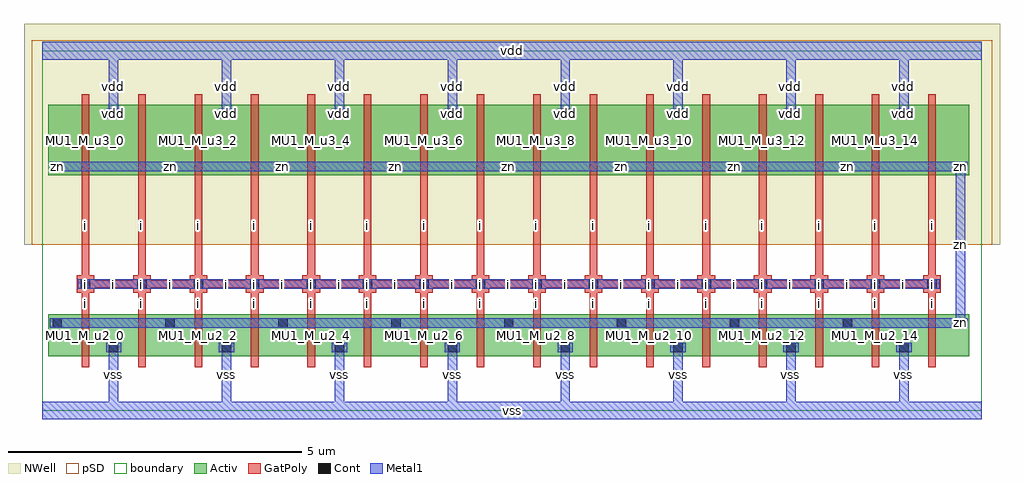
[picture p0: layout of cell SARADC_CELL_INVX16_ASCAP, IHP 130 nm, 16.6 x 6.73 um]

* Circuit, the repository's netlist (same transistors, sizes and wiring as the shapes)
** Cell name: SARADC_CELL_INVX16_ASCAP
** Lib name: sg13g2f
.SUBCKT SARADC_CELL_INVX16_ASCAP i vdd vss zn
*.PININFO i:I zn:O vdd:B vss:B 
MU1_M_u2_0 zn i vss vss sg13_lv_nmos l=1.300e-07 w=7.200e-07 $pos=0 $flip=0
MU1_M_u2_1 zn i vss vss sg13_lv_nmos l=1.300e-07 w=7.200e-07 $pos=1 $flip=1
MU1_M_u2_2 zn i vss vss sg13_lv_nmos l=1.300e-07 w=7.200e-07 $pos=2 $flip=0
MU1_M_u2_3 zn i vss vss sg13_lv_nmos l=1.300e-07 w=7.200e-07 $pos=3 $flip=1
MU1_M_u2_4 zn i vss vss sg13_lv_nmos l=1.300e-07 w=7.200e-07 $pos=4 $flip=0
MU1_M_u2_5 zn i vss vss sg13_lv_nmos l=1.300e-07 w=7.200e-07 $pos=5 $flip=1
MU1_M_u2_6 zn i vss vss sg13_lv_nmos l=1.300e-07 w=7.200e-07 $pos=6 $flip=0
MU1_M_u2_7 zn i vss vss sg13_lv_nmos l=1.300e-07 w=7.200e-07 $pos=7 $flip=1
MU1_M_u2_8 zn i vss vss sg13_lv_nmos l=1.300e-07 w=7.200e-07 $pos=8 $flip=0
MU1_M_u2_9 zn i vss vss sg13_lv_nmos l=1.300e-07 w=7.200e-07 $pos=9 $flip=1
MU1_M_u2_10 zn i vss vss sg13_lv_nmos l=1.300e-07 w=7.200e-07 $pos=10 $flip=0
MU1_M_u2_11 zn i vss vss sg13_lv_nmos l=1.300e-07 w=7.200e-07 $pos=11 $flip=1
MU1_M_u2_12 zn i vss vss sg13_lv_nmos l=1.300e-07 w=7.200e-07 $pos=12 $flip=0
MU1_M_u2_13 zn i vss vss sg13_lv_nmos l=1.300e-07 w=7.200e-07 $pos=13 $flip=1
MU1_M_u2_14 zn i vss vss sg13_lv_nmos l=1.300e-07 w=7.200e-07 $pos=14 $flip=0
MU1_M_u2_15 zn i vss vss sg13_lv_nmos l=1.300e-07 w=7.200e-07 $pos=15 $flip=1
MU1_M_u3_0 zn i vdd vdd sg13_lv_pmos l=1.300e-07 w=1.200e-06 $pos=0 $flip=0
MU1_M_u3_1 zn i vdd vdd sg13_lv_pmos l=1.300e-07 w=1.200e-06 $pos=1 $flip=1
MU1_M_u3_2 zn i vdd vdd sg13_lv_pmos l=1.300e-07 w=1.200e-06 $pos=2 $flip=0
MU1_M_u3_3 zn i vdd vdd sg13_lv_pmos l=1.300e-07 w=1.200e-06 $pos=3 $flip=1
MU1_M_u3_4 zn i vdd vdd sg13_lv_pmos l=1.300e-07 w=1.200e-06 $pos=4 $flip=0
MU1_M_u3_5 zn i vdd vdd sg13_lv_pmos l=1.300e-07 w=1.200e-06 $pos=5 $flip=1
MU1_M_u3_6 zn i vdd vdd sg13_lv_pmos l=1.300e-07 w=1.200e-06 $pos=6 $flip=0
MU1_M_u3_7 zn i vdd vdd sg13_lv_pmos l=1.300e-07 w=1.200e-06 $pos=7 $flip=1
MU1_M_u3_8 zn i vdd vdd sg13_lv_pmos l=1.300e-07 w=1.200e-06 $pos=8 $flip=0
MU1_M_u3_9 zn i vdd vdd sg13_lv_pmos l=1.300e-07 w=1.200e-06 $pos=9 $flip=1
MU1_M_u3_10 zn i vdd vdd sg13_lv_pmos l=1.300e-07 w=1.200e-06 $pos=10 $flip=0
MU1_M_u3_11 zn i vdd vdd sg13_lv_pmos l=1.300e-07 w=1.200e-06 $pos=11 $flip=1
MU1_M_u3_12 zn i vdd vdd sg13_lv_pmos l=1.300e-07 w=1.200e-06 $pos=12 $flip=0
MU1_M_u3_13 zn i vdd vdd sg13_lv_pmos l=1.300e-07 w=1.200e-06 $pos=13 $flip=1
MU1_M_u3_14 zn i vdd vdd sg13_lv_pmos l=1.300e-07 w=1.200e-06 $pos=14 $flip=0
MU1_M_u3_15 zn i vdd vdd sg13_lv_pmos l=1.300e-07 w=1.200e-06 $pos=15 $flip=1
.ENDS

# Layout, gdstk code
import gdstk
lib = gdstk.Library(unit=1e-6, precision=1e-09)
def R(c, l, rs):  # rectangles x0, y0, x1, y1
    for r in rs: c.add(gdstk.rectangle(r[:2], r[2:], *l))
def A(c, l, x, y, w, h, nx, ny, dx, dy):  # array of equal rectangles
    R(c, l, [(x+i*dx, y+j*dy, x+i*dx+w, y+j*dy+h) for i in range(nx) for j in range(ny)])
Activ = (1, 0)
GatPoly = (5, 0)
Cont = (6, 0)
Metal1 = (8, 0)
pSD = (14, 0)
NWell = (31, 0)
TEXT = (63, 0)
boundary = (189, 4)

saradc_cell_invx16_ascap = lib.new_cell('SARADC_CELL_INVX16_ASCAP')
A(saradc_cell_invx16_ascap, Activ, 0.105, 0.92, 1.26, 0.72, 16, 1, 0.96, 0)
A(saradc_cell_invx16_ascap, Activ, 1.065, 0.92, 0.3, 0.3, 8, 2, 1.92, 3.98)
A(saradc_cell_invx16_ascap, Activ, 0.105, 1.34, 0.3, 0.3, 9, 2, 1.92, 2.66)
A(saradc_cell_invx16_ascap, Activ, 0.105, 4, 1.26, 1.2, 16, 1, 0.96, 0)
A(saradc_cell_invx16_ascap, GatPoly, 0.67, 0.74, 0.13, 1.08, 16, 1, 0.96, 0)
A(saradc_cell_invx16_ascap, GatPoly, 0.67, 1.425, 0.13, 0.79, 16, 1, 0.96, 0)
A(saradc_cell_invx16_ascap, GatPoly, 0.585, 2, 0.3, 0.3, 16, 1, 0.96, 0)
A(saradc_cell_invx16_ascap, GatPoly, 0.67, 2.085, 1.09, 0.13, 15, 1, 0.96, 0)
A(saradc_cell_invx16_ascap, GatPoly, 0.67, 2.085, 0.13, 2.13, 16, 1, 0.96, 0)
A(saradc_cell_invx16_ascap, GatPoly, 0.67, 3.82, 0.13, 1.56, 16, 1, 0.96, 0)
A(saradc_cell_invx16_ascap, Cont, 1.135, 0.99, 0.16, 0.16, 8, 2, 1.92, 3.98)
A(saradc_cell_invx16_ascap, Cont, 0.175, 1.41, 0.16, 0.16, 9, 2, 1.92, 2.66)
A(saradc_cell_invx16_ascap, Cont, 0.655, 2.07, 0.16, 0.16, 16, 1, 0.96, 0)
A(saradc_cell_invx16_ascap, Metal1, 1.135, 0.07, 0.16, 1.08, 8, 2, 1.92, 4.9)
A(saradc_cell_invx16_ascap, Metal1, 1.085, 0.99, 0.26, 0.16, 8, 2, 1.92, 3.98)
A(saradc_cell_invx16_ascap, Metal1, 0.125, 1.41, 0.26, 0.16, 9, 2, 1.92, 2.66)
A(saradc_cell_invx16_ascap, Metal1, 0.175, 1.41, 2.08, 0.16, 8, 1, 1.92, 0)
A(saradc_cell_invx16_ascap, Metal1, 0.605, 2.07, 0.26, 0.16, 16, 1, 0.96, 0)
R(saradc_cell_invx16_ascap, Metal1, [(0,-0.15,15.98,0.15), (15.535,1.41,15.695,4.23), (0.655,2.07,15.265,2.23), (0.125,4.07,15.745,4.23), (0,5.97,15.98,6.27)])
R(saradc_cell_invx16_ascap, pSD, [(-0.18,2.82,16.16,5.94), (-0.18,5.94,16.16,6.3)])
R(saradc_cell_invx16_ascap, NWell, [(-0.31,2.82,16.29,6.58)])
R(saradc_cell_invx16_ascap, boundary, [(0,0,15.98,6.12)])
saradc_cell_invx16_ascap.add(gdstk.FlexPath([(0.105,0.41),(15.765,0.41)], 0, ends="flush", simple_path=True, layer=63, datatype=0))  # TEXT
saradc_cell_invx16_ascap.add(gdstk.FlexPath([(0.105,1.07),(15.765,1.07)], 0, ends="flush", simple_path=True, layer=63, datatype=0))  # TEXT
saradc_cell_invx16_ascap.add(gdstk.FlexPath([(0.105,1.49),(15.765,1.49)], 0, ends="flush", simple_path=True, layer=63, datatype=0))  # TEXT
saradc_cell_invx16_ascap.add(gdstk.FlexPath([(0.105,2.15),(15.765,2.15)], 0, ends="flush", simple_path=True, layer=63, datatype=0))  # TEXT
saradc_cell_invx16_ascap.add(gdstk.FlexPath([(0.105,2.63),(15.765,2.63)], 0, ends="flush", simple_path=True, layer=63, datatype=0))  # TEXT
saradc_cell_invx16_ascap.add(gdstk.FlexPath([(0.105,3.11),(15.765,3.11)], 0, ends="flush", simple_path=True, layer=63, datatype=0))  # TEXT
saradc_cell_invx16_ascap.add(gdstk.FlexPath([(0.105,4.15),(15.765,4.15)], 0, ends="flush", simple_path=True, layer=63, datatype=0))  # TEXT
saradc_cell_invx16_ascap.add(gdstk.FlexPath([(0.105,4.71),(15.765,4.71)], 0, ends="flush", simple_path=True, layer=63, datatype=0))  # TEXT
saradc_cell_invx16_ascap.add(gdstk.FlexPath([(0.105,5.05),(15.765,5.05)], 0, ends="flush", simple_path=True, layer=63, datatype=0))  # TEXT
saradc_cell_invx16_ascap.add(gdstk.FlexPath([(0.105,5.71),(15.765,5.71)], 0, ends="flush", simple_path=True, layer=63, datatype=0))  # TEXT
saradc_cell_invx16_ascap.add(gdstk.FlexPath([(0.255,0.07),(0.255,6.05)], 0, ends="flush", simple_path=True, layer=63, datatype=0))  # TEXT
saradc_cell_invx16_ascap.add(gdstk.FlexPath([(0.735,0.07),(0.735,6.05)], 0, ends="flush", simple_path=True, layer=63, datatype=0))  # TEXT
saradc_cell_invx16_ascap.add(gdstk.FlexPath([(1.215,0.07),(1.215,6.05)], 0, ends="flush", simple_path=True, layer=63, datatype=0))  # TEXT
saradc_cell_invx16_ascap.add(gdstk.FlexPath([(1.695,0.07),(1.695,6.05)], 0, ends="flush", simple_path=True, layer=63, datatype=0))  # TEXT
saradc_cell_invx16_ascap.add(gdstk.FlexPath([(2.175,0.07),(2.175,6.05)], 0, ends="flush", simple_path=True, layer=63, datatype=0))  # TEXT
saradc_cell_invx16_ascap.add(gdstk.FlexPath([(2.655,0.07),(2.655,6.05)], 0, ends="flush", simple_path=True, layer=63, datatype=0))  # TEXT
saradc_cell_invx16_ascap.add(gdstk.FlexPath([(3.135,0.07),(3.135,6.05)], 0, ends="flush", simple_path=True, layer=63, datatype=0))  # TEXT
saradc_cell_invx16_ascap.add(gdstk.FlexPath([(3.615,0.07),(3.615,6.05)], 0, ends="flush", simple_path=True, layer=63, datatype=0))  # TEXT
saradc_cell_invx16_ascap.add(gdstk.FlexPath([(4.095,0.07),(4.095,6.05)], 0, ends="flush", simple_path=True, layer=63, datatype=0))  # TEXT
saradc_cell_invx16_ascap.add(gdstk.FlexPath([(4.575,0.07),(4.575,6.05)], 0, ends="flush", simple_path=True, layer=63, datatype=0))  # TEXT
saradc_cell_invx16_ascap.add(gdstk.FlexPath([(5.055,0.07),(5.055,6.05)], 0, ends="flush", simple_path=True, layer=63, datatype=0))  # TEXT
saradc_cell_invx16_ascap.add(gdstk.FlexPath([(5.535,0.07),(5.535,6.05)], 0, ends="flush", simple_path=True, layer=63, datatype=0))  # TEXT
saradc_cell_invx16_ascap.add(gdstk.FlexPath([(6.015,0.07),(6.015,6.05)], 0, ends="flush", simple_path=True, layer=63, datatype=0))  # TEXT
saradc_cell_invx16_ascap.add(gdstk.FlexPath([(6.495,0.07),(6.495,6.05)], 0, ends="flush", simple_path=True, layer=63, datatype=0))  # TEXT
saradc_cell_invx16_ascap.add(gdstk.FlexPath([(6.975,0.07),(6.975,6.05)], 0, ends="flush", simple_path=True, layer=63, datatype=0))  # TEXT
saradc_cell_invx16_ascap.add(gdstk.FlexPath([(7.455,0.07),(7.455,6.05)], 0, ends="flush", simple_path=True, layer=63, datatype=0))  # TEXT
saradc_cell_invx16_ascap.add(gdstk.FlexPath([(7.935,0.07),(7.935,6.05)], 0, ends="flush", simple_path=True, layer=63, datatype=0))  # TEXT
saradc_cell_invx16_ascap.add(gdstk.FlexPath([(8.415,0.07),(8.415,6.05)], 0, ends="flush", simple_path=True, layer=63, datatype=0))  # TEXT
saradc_cell_invx16_ascap.add(gdstk.FlexPath([(8.895,0.07),(8.895,6.05)], 0, ends="flush", simple_path=True, layer=63, datatype=0))  # TEXT
saradc_cell_invx16_ascap.add(gdstk.FlexPath([(9.375,0.07),(9.375,6.05)], 0, ends="flush", simple_path=True, layer=63, datatype=0))  # TEXT
saradc_cell_invx16_ascap.add(gdstk.FlexPath([(9.855,0.07),(9.855,6.05)], 0, ends="flush", simple_path=True, layer=63, datatype=0))  # TEXT
saradc_cell_invx16_ascap.add(gdstk.FlexPath([(10.335,0.07),(10.335,6.05)], 0, ends="flush", simple_path=True, layer=63, datatype=0))  # TEXT
saradc_cell_invx16_ascap.add(gdstk.FlexPath([(10.815,0.07),(10.815,6.05)], 0, ends="flush", simple_path=True, layer=63, datatype=0))  # TEXT
saradc_cell_invx16_ascap.add(gdstk.FlexPath([(11.295,0.07),(11.295,6.05)], 0, ends="flush", simple_path=True, layer=63, datatype=0))  # TEXT
saradc_cell_invx16_ascap.add(gdstk.FlexPath([(11.775,0.07),(11.775,6.05)], 0, ends="flush", simple_path=True, layer=63, datatype=0))  # TEXT
saradc_cell_invx16_ascap.add(gdstk.FlexPath([(12.255,0.07),(12.255,6.05)], 0, ends="flush", simple_path=True, layer=63, datatype=0))  # TEXT
saradc_cell_invx16_ascap.add(gdstk.FlexPath([(12.735,0.07),(12.735,6.05)], 0, ends="flush", simple_path=True, layer=63, datatype=0))  # TEXT
saradc_cell_invx16_ascap.add(gdstk.FlexPath([(13.215,0.07),(13.215,6.05)], 0, ends="flush", simple_path=True, layer=63, datatype=0))  # TEXT
saradc_cell_invx16_ascap.add(gdstk.FlexPath([(13.695,0.07),(13.695,6.05)], 0, ends="flush", simple_path=True, layer=63, datatype=0))  # TEXT
saradc_cell_invx16_ascap.add(gdstk.FlexPath([(14.175,0.07),(14.175,6.05)], 0, ends="flush", simple_path=True, layer=63, datatype=0))  # TEXT
saradc_cell_invx16_ascap.add(gdstk.FlexPath([(14.655,0.07),(14.655,6.05)], 0, ends="flush", simple_path=True, layer=63, datatype=0))  # TEXT
saradc_cell_invx16_ascap.add(gdstk.FlexPath([(15.135,0.07),(15.135,6.05)], 0, ends="flush", simple_path=True, layer=63, datatype=0))  # TEXT
saradc_cell_invx16_ascap.add(gdstk.FlexPath([(15.615,0.07),(15.615,6.05)], 0, ends="flush", simple_path=True, layer=63, datatype=0))  # TEXT
saradc_cell_invx16_ascap.add(gdstk.Label('MU1_M_u2_0', (0.735,1.28), layer=1, texttype=0))
saradc_cell_invx16_ascap.add(gdstk.Label('MU1_M_u2_1', (1.695,1.28), layer=1, texttype=0))
saradc_cell_invx16_ascap.add(gdstk.Label('MU1_M_u2_2', (2.655,1.28), layer=1, texttype=0))
saradc_cell_invx16_ascap.add(gdstk.Label('MU1_M_u2_3', (3.615,1.28), layer=1, texttype=0))
saradc_cell_invx16_ascap.add(gdstk.Label('MU1_M_u2_4', (4.575,1.28), layer=1, texttype=0))
saradc_cell_invx16_ascap.add(gdstk.Label('MU1_M_u2_5', (5.535,1.28), layer=1, texttype=0))
saradc_cell_invx16_ascap.add(gdstk.Label('MU1_M_u2_6', (6.495,1.28), layer=1, texttype=0))
saradc_cell_invx16_ascap.add(gdstk.Label('MU1_M_u2_7', (7.455,1.28), layer=1, texttype=0))
saradc_cell_invx16_ascap.add(gdstk.Label('MU1_M_u2_8', (8.415,1.28), layer=1, texttype=0))
saradc_cell_invx16_ascap.add(gdstk.Label('MU1_M_u2_9', (9.375,1.28), layer=1, texttype=0))
saradc_cell_invx16_ascap.add(gdstk.Label('MU1_M_u2_10', (10.335,1.28), layer=1, texttype=0))
saradc_cell_invx16_ascap.add(gdstk.Label('MU1_M_u2_11', (11.295,1.28), layer=1, texttype=0))
saradc_cell_invx16_ascap.add(gdstk.Label('MU1_M_u2_12', (12.255,1.28), layer=1, texttype=0))
saradc_cell_invx16_ascap.add(gdstk.Label('MU1_M_u2_13', (13.215,1.28), layer=1, texttype=0))
saradc_cell_invx16_ascap.add(gdstk.Label('MU1_M_u2_14', (14.175,1.28), layer=1, texttype=0))
saradc_cell_invx16_ascap.add(gdstk.Label('MU1_M_u2_15', (15.135,1.28), layer=1, texttype=0))
saradc_cell_invx16_ascap.add(gdstk.Label('MU1_M_u3_0', (0.735,4.6), layer=1, texttype=0))
saradc_cell_invx16_ascap.add(gdstk.Label('MU1_M_u3_1', (1.695,4.6), layer=1, texttype=0))
saradc_cell_invx16_ascap.add(gdstk.Label('MU1_M_u3_2', (2.655,4.6), layer=1, texttype=0))
saradc_cell_invx16_ascap.add(gdstk.Label('MU1_M_u3_3', (3.615,4.6), layer=1, texttype=0))
saradc_cell_invx16_ascap.add(gdstk.Label('MU1_M_u3_4', (4.575,4.6), layer=1, texttype=0))
saradc_cell_invx16_ascap.add(gdstk.Label('MU1_M_u3_5', (5.535,4.6), layer=1, texttype=0))
saradc_cell_invx16_ascap.add(gdstk.Label('MU1_M_u3_6', (6.495,4.6), layer=1, texttype=0))
saradc_cell_invx16_ascap.add(gdstk.Label('MU1_M_u3_7', (7.455,4.6), layer=1, texttype=0))
saradc_cell_invx16_ascap.add(gdstk.Label('MU1_M_u3_8', (8.415,4.6), layer=1, texttype=0))
saradc_cell_invx16_ascap.add(gdstk.Label('MU1_M_u3_9', (9.375,4.6), layer=1, texttype=0))
saradc_cell_invx16_ascap.add(gdstk.Label('MU1_M_u3_10', (10.335,4.6), layer=1, texttype=0))
saradc_cell_invx16_ascap.add(gdstk.Label('MU1_M_u3_11', (11.295,4.6), layer=1, texttype=0))
saradc_cell_invx16_ascap.add(gdstk.Label('MU1_M_u3_12', (12.255,4.6), layer=1, texttype=0))
saradc_cell_invx16_ascap.add(gdstk.Label('MU1_M_u3_13', (13.215,4.6), layer=1, texttype=0))
saradc_cell_invx16_ascap.add(gdstk.Label('MU1_M_u3_14', (14.175,4.6), layer=1, texttype=0))
saradc_cell_invx16_ascap.add(gdstk.Label('MU1_M_u3_15', (15.135,4.6), layer=1, texttype=0))
saradc_cell_invx16_ascap.add(gdstk.Label('zn', (0.255,1.49), layer=1, texttype=0))
saradc_cell_invx16_ascap.add(gdstk.Label('zn', (2.175,1.49), layer=1, texttype=0))
saradc_cell_invx16_ascap.add(gdstk.Label('zn', (4.095,1.49), layer=1, texttype=0))
saradc_cell_invx16_ascap.add(gdstk.Label('zn', (6.015,1.49), layer=1, texttype=0))
saradc_cell_invx16_ascap.add(gdstk.Label('zn', (7.935,1.49), layer=1, texttype=0))
saradc_cell_invx16_ascap.add(gdstk.Label('zn', (9.855,1.49), layer=1, texttype=0))
saradc_cell_invx16_ascap.add(gdstk.Label('zn', (11.775,1.49), layer=1, texttype=0))
saradc_cell_invx16_ascap.add(gdstk.Label('zn', (13.695,1.49), layer=1, texttype=0))
saradc_cell_invx16_ascap.add(gdstk.Label('zn', (15.615,1.49), layer=1, texttype=0))
saradc_cell_invx16_ascap.add(gdstk.Label('zn', (0.255,4.15), layer=1, texttype=0))
saradc_cell_invx16_ascap.add(gdstk.Label('zn', (2.175,4.15), layer=1, texttype=0))
saradc_cell_invx16_ascap.add(gdstk.Label('zn', (4.095,4.15), layer=1, texttype=0))
saradc_cell_invx16_ascap.add(gdstk.Label('zn', (6.015,4.15), layer=1, texttype=0))
saradc_cell_invx16_ascap.add(gdstk.Label('zn', (7.935,4.15), layer=1, texttype=0))
saradc_cell_invx16_ascap.add(gdstk.Label('zn', (9.855,4.15), layer=1, texttype=0))
saradc_cell_invx16_ascap.add(gdstk.Label('zn', (11.775,4.15), layer=1, texttype=0))
saradc_cell_invx16_ascap.add(gdstk.Label('zn', (13.695,4.15), layer=1, texttype=0))
saradc_cell_invx16_ascap.add(gdstk.Label('zn', (15.615,4.15), layer=1, texttype=0))
saradc_cell_invx16_ascap.add(gdstk.Label('vss', (1.215,1.07), layer=1, texttype=0))
saradc_cell_invx16_ascap.add(gdstk.Label('vss', (3.135,1.07), layer=1, texttype=0))
saradc_cell_invx16_ascap.add(gdstk.Label('vss', (5.055,1.07), layer=1, texttype=0))
saradc_cell_invx16_ascap.add(gdstk.Label('vss', (6.975,1.07), layer=1, texttype=0))
saradc_cell_invx16_ascap.add(gdstk.Label('vss', (8.895,1.07), layer=1, texttype=0))
saradc_cell_invx16_ascap.add(gdstk.Label('vss', (10.815,1.07), layer=1, texttype=0))
saradc_cell_invx16_ascap.add(gdstk.Label('vss', (12.735,1.07), layer=1, texttype=0))
saradc_cell_invx16_ascap.add(gdstk.Label('vss', (14.655,1.07), layer=1, texttype=0))
saradc_cell_invx16_ascap.add(gdstk.Label('vdd', (1.215,5.05), layer=1, texttype=0))
saradc_cell_invx16_ascap.add(gdstk.Label('vdd', (3.135,5.05), layer=1, texttype=0))
saradc_cell_invx16_ascap.add(gdstk.Label('vdd', (5.055,5.05), layer=1, texttype=0))
saradc_cell_invx16_ascap.add(gdstk.Label('vdd', (6.975,5.05), layer=1, texttype=0))
saradc_cell_invx16_ascap.add(gdstk.Label('vdd', (8.895,5.05), layer=1, texttype=0))
saradc_cell_invx16_ascap.add(gdstk.Label('vdd', (10.815,5.05), layer=1, texttype=0))
saradc_cell_invx16_ascap.add(gdstk.Label('vdd', (12.735,5.05), layer=1, texttype=0))
saradc_cell_invx16_ascap.add(gdstk.Label('vdd', (14.655,5.05), layer=1, texttype=0))
saradc_cell_invx16_ascap.add(gdstk.Label('i', (1.695,2.15), layer=5, texttype=0))
saradc_cell_invx16_ascap.add(gdstk.Label('i', (2.655,2.15), layer=5, texttype=0))
saradc_cell_invx16_ascap.add(gdstk.Label('i', (3.615,2.15), layer=5, texttype=0))
saradc_cell_invx16_ascap.add(gdstk.Label('i', (4.575,2.15), layer=5, texttype=0))
saradc_cell_invx16_ascap.add(gdstk.Label('i', (5.535,2.15), layer=5, texttype=0))
saradc_cell_invx16_ascap.add(gdstk.Label('i', (6.495,2.15), layer=5, texttype=0))
saradc_cell_invx16_ascap.add(gdstk.Label('i', (7.455,2.15), layer=5, texttype=0))
saradc_cell_invx16_ascap.add(gdstk.Label('i', (8.415,2.15), layer=5, texttype=0))
saradc_cell_invx16_ascap.add(gdstk.Label('i', (9.375,2.15), layer=5, texttype=0))
saradc_cell_invx16_ascap.add(gdstk.Label('i', (10.335,2.15), layer=5, texttype=0))
saradc_cell_invx16_ascap.add(gdstk.Label('i', (11.295,2.15), layer=5, texttype=0))
saradc_cell_invx16_ascap.add(gdstk.Label('i', (12.255,2.15), layer=5, texttype=0))
saradc_cell_invx16_ascap.add(gdstk.Label('i', (13.215,2.15), layer=5, texttype=0))
saradc_cell_invx16_ascap.add(gdstk.Label('i', (14.175,2.15), layer=5, texttype=0))
saradc_cell_invx16_ascap.add(gdstk.Label('i', (15.135,2.15), layer=5, texttype=0))
saradc_cell_invx16_ascap.add(gdstk.Label('i', (0.735,1.82), layer=5, texttype=0))
saradc_cell_invx16_ascap.add(gdstk.Label('i', (1.215,2.15), layer=5, texttype=0))
saradc_cell_invx16_ascap.add(gdstk.Label('i', (1.695,1.82), layer=5, texttype=0))
saradc_cell_invx16_ascap.add(gdstk.Label('i', (2.175,2.15), layer=5, texttype=0))
saradc_cell_invx16_ascap.add(gdstk.Label('i', (2.655,1.82), layer=5, texttype=0))
saradc_cell_invx16_ascap.add(gdstk.Label('i', (3.135,2.15), layer=5, texttype=0))
saradc_cell_invx16_ascap.add(gdstk.Label('i', (3.615,1.82), layer=5, texttype=0))
saradc_cell_invx16_ascap.add(gdstk.Label('i', (4.095,2.15), layer=5, texttype=0))
saradc_cell_invx16_ascap.add(gdstk.Label('i', (4.575,1.82), layer=5, texttype=0))
saradc_cell_invx16_ascap.add(gdstk.Label('i', (5.055,2.15), layer=5, texttype=0))
saradc_cell_invx16_ascap.add(gdstk.Label('i', (5.535,1.82), layer=5, texttype=0))
saradc_cell_invx16_ascap.add(gdstk.Label('i', (6.015,2.15), layer=5, texttype=0))
saradc_cell_invx16_ascap.add(gdstk.Label('i', (6.495,1.82), layer=5, texttype=0))
saradc_cell_invx16_ascap.add(gdstk.Label('i', (6.975,2.15), layer=5, texttype=0))
saradc_cell_invx16_ascap.add(gdstk.Label('i', (7.455,1.82), layer=5, texttype=0))
saradc_cell_invx16_ascap.add(gdstk.Label('i', (7.935,2.15), layer=5, texttype=0))
saradc_cell_invx16_ascap.add(gdstk.Label('i', (8.415,1.82), layer=5, texttype=0))
saradc_cell_invx16_ascap.add(gdstk.Label('i', (8.895,2.15), layer=5, texttype=0))
saradc_cell_invx16_ascap.add(gdstk.Label('i', (9.375,1.82), layer=5, texttype=0))
saradc_cell_invx16_ascap.add(gdstk.Label('i', (9.855,2.15), layer=5, texttype=0))
saradc_cell_invx16_ascap.add(gdstk.Label('i', (10.335,1.82), layer=5, texttype=0))
saradc_cell_invx16_ascap.add(gdstk.Label('i', (10.815,2.15), layer=5, texttype=0))
saradc_cell_invx16_ascap.add(gdstk.Label('i', (11.295,1.82), layer=5, texttype=0))
saradc_cell_invx16_ascap.add(gdstk.Label('i', (11.775,2.15), layer=5, texttype=0))
saradc_cell_invx16_ascap.add(gdstk.Label('i', (12.255,1.82), layer=5, texttype=0))
saradc_cell_invx16_ascap.add(gdstk.Label('i', (12.735,2.15), layer=5, texttype=0))
saradc_cell_invx16_ascap.add(gdstk.Label('i', (13.215,1.82), layer=5, texttype=0))
saradc_cell_invx16_ascap.add(gdstk.Label('i', (13.695,2.15), layer=5, texttype=0))
saradc_cell_invx16_ascap.add(gdstk.Label('i', (14.175,1.82), layer=5, texttype=0))
saradc_cell_invx16_ascap.add(gdstk.Label('i', (14.655,2.15), layer=5, texttype=0))
saradc_cell_invx16_ascap.add(gdstk.Label('i', (15.135,1.82), layer=5, texttype=0))
saradc_cell_invx16_ascap.add(gdstk.Label('i', (0.735,3.15), layer=5, texttype=0))
saradc_cell_invx16_ascap.add(gdstk.Label('i', (1.695,3.15), layer=5, texttype=0))
saradc_cell_invx16_ascap.add(gdstk.Label('i', (2.655,3.15), layer=5, texttype=0))
saradc_cell_invx16_ascap.add(gdstk.Label('i', (3.615,3.15), layer=5, texttype=0))
saradc_cell_invx16_ascap.add(gdstk.Label('i', (4.575,3.15), layer=5, texttype=0))
saradc_cell_invx16_ascap.add(gdstk.Label('i', (5.535,3.15), layer=5, texttype=0))
saradc_cell_invx16_ascap.add(gdstk.Label('i', (6.495,3.15), layer=5, texttype=0))
saradc_cell_invx16_ascap.add(gdstk.Label('i', (7.455,3.15), layer=5, texttype=0))
saradc_cell_invx16_ascap.add(gdstk.Label('i', (8.415,3.15), layer=5, texttype=0))
saradc_cell_invx16_ascap.add(gdstk.Label('i', (9.375,3.15), layer=5, texttype=0))
saradc_cell_invx16_ascap.add(gdstk.Label('i', (10.335,3.15), layer=5, texttype=0))
saradc_cell_invx16_ascap.add(gdstk.Label('i', (11.295,3.15), layer=5, texttype=0))
saradc_cell_invx16_ascap.add(gdstk.Label('i', (12.255,3.15), layer=5, texttype=0))
saradc_cell_invx16_ascap.add(gdstk.Label('i', (13.215,3.15), layer=5, texttype=0))
saradc_cell_invx16_ascap.add(gdstk.Label('i', (14.175,3.15), layer=5, texttype=0))
saradc_cell_invx16_ascap.add(gdstk.Label('i', (15.135,3.15), layer=5, texttype=0))
saradc_cell_invx16_ascap.add(gdstk.Label('i', (0.735,2.15), layer=5, texttype=0))
saradc_cell_invx16_ascap.add(gdstk.Label('i', (1.695,2.15), layer=6, texttype=0))
saradc_cell_invx16_ascap.add(gdstk.Label('i', (2.655,2.15), layer=6, texttype=0))
saradc_cell_invx16_ascap.add(gdstk.Label('i', (3.615,2.15), layer=6, texttype=0))
saradc_cell_invx16_ascap.add(gdstk.Label('i', (4.575,2.15), layer=6, texttype=0))
saradc_cell_invx16_ascap.add(gdstk.Label('i', (5.535,2.15), layer=6, texttype=0))
saradc_cell_invx16_ascap.add(gdstk.Label('i', (6.495,2.15), layer=6, texttype=0))
saradc_cell_invx16_ascap.add(gdstk.Label('i', (7.455,2.15), layer=6, texttype=0))
saradc_cell_invx16_ascap.add(gdstk.Label('i', (8.415,2.15), layer=6, texttype=0))
saradc_cell_invx16_ascap.add(gdstk.Label('i', (9.375,2.15), layer=6, texttype=0))
saradc_cell_invx16_ascap.add(gdstk.Label('i', (10.335,2.15), layer=6, texttype=0))
saradc_cell_invx16_ascap.add(gdstk.Label('i', (11.295,2.15), layer=6, texttype=0))
saradc_cell_invx16_ascap.add(gdstk.Label('i', (12.255,2.15), layer=6, texttype=0))
saradc_cell_invx16_ascap.add(gdstk.Label('i', (13.215,2.15), layer=6, texttype=0))
saradc_cell_invx16_ascap.add(gdstk.Label('i', (14.175,2.15), layer=6, texttype=0))
saradc_cell_invx16_ascap.add(gdstk.Label('i', (15.135,2.15), layer=6, texttype=0))
saradc_cell_invx16_ascap.add(gdstk.Label('zn', (0.255,1.49), layer=6, texttype=0))
saradc_cell_invx16_ascap.add(gdstk.Label('zn', (2.175,1.49), layer=6, texttype=0))
saradc_cell_invx16_ascap.add(gdstk.Label('zn', (4.095,1.49), layer=6, texttype=0))
saradc_cell_invx16_ascap.add(gdstk.Label('zn', (6.015,1.49), layer=6, texttype=0))
saradc_cell_invx16_ascap.add(gdstk.Label('zn', (7.935,1.49), layer=6, texttype=0))
saradc_cell_invx16_ascap.add(gdstk.Label('zn', (9.855,1.49), layer=6, texttype=0))
saradc_cell_invx16_ascap.add(gdstk.Label('zn', (11.775,1.49), layer=6, texttype=0))
saradc_cell_invx16_ascap.add(gdstk.Label('zn', (13.695,1.49), layer=6, texttype=0))
saradc_cell_invx16_ascap.add(gdstk.Label('zn', (15.615,1.49), layer=6, texttype=0))
saradc_cell_invx16_ascap.add(gdstk.Label('zn', (0.255,4.15), layer=6, texttype=0))
saradc_cell_invx16_ascap.add(gdstk.Label('zn', (2.175,4.15), layer=6, texttype=0))
saradc_cell_invx16_ascap.add(gdstk.Label('zn', (4.095,4.15), layer=6, texttype=0))
saradc_cell_invx16_ascap.add(gdstk.Label('zn', (6.015,4.15), layer=6, texttype=0))
saradc_cell_invx16_ascap.add(gdstk.Label('zn', (7.935,4.15), layer=6, texttype=0))
saradc_cell_invx16_ascap.add(gdstk.Label('zn', (9.855,4.15), layer=6, texttype=0))
saradc_cell_invx16_ascap.add(gdstk.Label('zn', (11.775,4.15), layer=6, texttype=0))
saradc_cell_invx16_ascap.add(gdstk.Label('zn', (13.695,4.15), layer=6, texttype=0))
saradc_cell_invx16_ascap.add(gdstk.Label('zn', (15.615,4.15), layer=6, texttype=0))
saradc_cell_invx16_ascap.add(gdstk.Label('i', (0.735,2.15), layer=6, texttype=0))
saradc_cell_invx16_ascap.add(gdstk.Label('vss', (1.215,1.07), layer=6, texttype=0))
saradc_cell_invx16_ascap.add(gdstk.Label('vss', (3.135,1.07), layer=6, texttype=0))
saradc_cell_invx16_ascap.add(gdstk.Label('vss', (5.055,1.07), layer=6, texttype=0))
saradc_cell_invx16_ascap.add(gdstk.Label('vss', (6.975,1.07), layer=6, texttype=0))
saradc_cell_invx16_ascap.add(gdstk.Label('vss', (8.895,1.07), layer=6, texttype=0))
saradc_cell_invx16_ascap.add(gdstk.Label('vss', (10.815,1.07), layer=6, texttype=0))
saradc_cell_invx16_ascap.add(gdstk.Label('vss', (12.735,1.07), layer=6, texttype=0))
saradc_cell_invx16_ascap.add(gdstk.Label('vss', (14.655,1.07), layer=6, texttype=0))
saradc_cell_invx16_ascap.add(gdstk.Label('vdd', (1.215,5.05), layer=6, texttype=0))
saradc_cell_invx16_ascap.add(gdstk.Label('vdd', (3.135,5.05), layer=6, texttype=0))
saradc_cell_invx16_ascap.add(gdstk.Label('vdd', (5.055,5.05), layer=6, texttype=0))
saradc_cell_invx16_ascap.add(gdstk.Label('vdd', (6.975,5.05), layer=6, texttype=0))
saradc_cell_invx16_ascap.add(gdstk.Label('vdd', (8.895,5.05), layer=6, texttype=0))
saradc_cell_invx16_ascap.add(gdstk.Label('vdd', (10.815,5.05), layer=6, texttype=0))
saradc_cell_invx16_ascap.add(gdstk.Label('vdd', (12.735,5.05), layer=6, texttype=0))
saradc_cell_invx16_ascap.add(gdstk.Label('vdd', (14.655,5.05), layer=6, texttype=0))
saradc_cell_invx16_ascap.add(gdstk.Label('vss', (1.215,1.07), layer=8, texttype=0))
saradc_cell_invx16_ascap.add(gdstk.Label('vss', (1.215,0.61), layer=8, texttype=0))
saradc_cell_invx16_ascap.add(gdstk.Label('vss', (3.135,1.07), layer=8, texttype=0))
saradc_cell_invx16_ascap.add(gdstk.Label('vss', (3.135,0.61), layer=8, texttype=0))
saradc_cell_invx16_ascap.add(gdstk.Label('vss', (5.055,1.07), layer=8, texttype=0))
saradc_cell_invx16_ascap.add(gdstk.Label('vss', (5.055,0.61), layer=8, texttype=0))
saradc_cell_invx16_ascap.add(gdstk.Label('vss', (6.975,1.07), layer=8, texttype=0))
saradc_cell_invx16_ascap.add(gdstk.Label('vss', (6.975,0.61), layer=8, texttype=0))
saradc_cell_invx16_ascap.add(gdstk.Label('vss', (8.895,1.07), layer=8, texttype=0))
saradc_cell_invx16_ascap.add(gdstk.Label('vss', (8.895,0.61), layer=8, texttype=0))
saradc_cell_invx16_ascap.add(gdstk.Label('vss', (10.815,1.07), layer=8, texttype=0))
saradc_cell_invx16_ascap.add(gdstk.Label('vss', (10.815,0.61), layer=8, texttype=0))
saradc_cell_invx16_ascap.add(gdstk.Label('vss', (12.735,1.07), layer=8, texttype=0))
saradc_cell_invx16_ascap.add(gdstk.Label('vss', (12.735,0.61), layer=8, texttype=0))
saradc_cell_invx16_ascap.add(gdstk.Label('vss', (14.655,1.07), layer=8, texttype=0))
saradc_cell_invx16_ascap.add(gdstk.Label('vss', (14.655,0.61), layer=8, texttype=0))
saradc_cell_invx16_ascap.add(gdstk.Label('vdd', (1.215,5.05), layer=8, texttype=0))
saradc_cell_invx16_ascap.add(gdstk.Label('vdd', (1.215,5.51), layer=8, texttype=0))
saradc_cell_invx16_ascap.add(gdstk.Label('vdd', (3.135,5.05), layer=8, texttype=0))
saradc_cell_invx16_ascap.add(gdstk.Label('vdd', (3.135,5.51), layer=8, texttype=0))
saradc_cell_invx16_ascap.add(gdstk.Label('vdd', (5.055,5.05), layer=8, texttype=0))
saradc_cell_invx16_ascap.add(gdstk.Label('vdd', (5.055,5.51), layer=8, texttype=0))
saradc_cell_invx16_ascap.add(gdstk.Label('vdd', (6.975,5.05), layer=8, texttype=0))
saradc_cell_invx16_ascap.add(gdstk.Label('vdd', (6.975,5.51), layer=8, texttype=0))
saradc_cell_invx16_ascap.add(gdstk.Label('vdd', (8.895,5.05), layer=8, texttype=0))
saradc_cell_invx16_ascap.add(gdstk.Label('vdd', (8.895,5.51), layer=8, texttype=0))
saradc_cell_invx16_ascap.add(gdstk.Label('vdd', (10.815,5.05), layer=8, texttype=0))
saradc_cell_invx16_ascap.add(gdstk.Label('vdd', (10.815,5.51), layer=8, texttype=0))
saradc_cell_invx16_ascap.add(gdstk.Label('vdd', (12.735,5.05), layer=8, texttype=0))
saradc_cell_invx16_ascap.add(gdstk.Label('vdd', (12.735,5.51), layer=8, texttype=0))
saradc_cell_invx16_ascap.add(gdstk.Label('vdd', (14.655,5.05), layer=8, texttype=0))
saradc_cell_invx16_ascap.add(gdstk.Label('vdd', (14.655,5.51), layer=8, texttype=0))
saradc_cell_invx16_ascap.add(gdstk.Label('i', (1.695,2.15), layer=8, texttype=2))
saradc_cell_invx16_ascap.add(gdstk.Label('i', (3.615,2.15), layer=8, texttype=2))
saradc_cell_invx16_ascap.add(gdstk.Label('i', (2.655,2.15), layer=8, texttype=2))
saradc_cell_invx16_ascap.add(gdstk.Label('i', (4.575,2.15), layer=8, texttype=2))
saradc_cell_invx16_ascap.add(gdstk.Label('i', (5.535,2.15), layer=8, texttype=2))
saradc_cell_invx16_ascap.add(gdstk.Label('i', (6.495,2.15), layer=8, texttype=2))
saradc_cell_invx16_ascap.add(gdstk.Label('i', (7.455,2.15), layer=8, texttype=2))
saradc_cell_invx16_ascap.add(gdstk.Label('i', (8.415,2.15), layer=8, texttype=2))
saradc_cell_invx16_ascap.add(gdstk.Label('i', (9.375,2.15), layer=8, texttype=2))
saradc_cell_invx16_ascap.add(gdstk.Label('i', (10.335,2.15), layer=8, texttype=2))
saradc_cell_invx16_ascap.add(gdstk.Label('i', (11.295,2.15), layer=8, texttype=2))
saradc_cell_invx16_ascap.add(gdstk.Label('i', (12.255,2.15), layer=8, texttype=2))
saradc_cell_invx16_ascap.add(gdstk.Label('i', (13.215,2.15), layer=8, texttype=2))
saradc_cell_invx16_ascap.add(gdstk.Label('i', (14.175,2.15), layer=8, texttype=2))
saradc_cell_invx16_ascap.add(gdstk.Label('i', (15.135,2.15), layer=8, texttype=2))
saradc_cell_invx16_ascap.add(gdstk.Label('zn', (0.255,1.49), layer=8, texttype=2))
saradc_cell_invx16_ascap.add(gdstk.Label('zn', (2.175,1.49), layer=8, texttype=2))
saradc_cell_invx16_ascap.add(gdstk.Label('zn', (4.095,1.49), layer=8, texttype=2))
saradc_cell_invx16_ascap.add(gdstk.Label('zn', (6.015,1.49), layer=8, texttype=2))
saradc_cell_invx16_ascap.add(gdstk.Label('zn', (7.935,1.49), layer=8, texttype=2))
saradc_cell_invx16_ascap.add(gdstk.Label('zn', (9.855,1.49), layer=8, texttype=2))
saradc_cell_invx16_ascap.add(gdstk.Label('zn', (11.775,1.49), layer=8, texttype=2))
saradc_cell_invx16_ascap.add(gdstk.Label('zn', (13.695,1.49), layer=8, texttype=2))
saradc_cell_invx16_ascap.add(gdstk.Label('zn', (15.615,1.49), layer=8, texttype=2))
saradc_cell_invx16_ascap.add(gdstk.Label('zn', (0.255,4.15), layer=8, texttype=2))
saradc_cell_invx16_ascap.add(gdstk.Label('zn', (2.175,4.15), layer=8, texttype=2))
saradc_cell_invx16_ascap.add(gdstk.Label('zn', (4.095,4.15), layer=8, texttype=2))
saradc_cell_invx16_ascap.add(gdstk.Label('zn', (6.015,4.15), layer=8, texttype=2))
saradc_cell_invx16_ascap.add(gdstk.Label('zn', (7.935,4.15), layer=8, texttype=2))
saradc_cell_invx16_ascap.add(gdstk.Label('zn', (9.855,4.15), layer=8, texttype=2))
saradc_cell_invx16_ascap.add(gdstk.Label('zn', (11.775,4.15), layer=8, texttype=2))
saradc_cell_invx16_ascap.add(gdstk.Label('zn', (13.695,4.15), layer=8, texttype=2))
saradc_cell_invx16_ascap.add(gdstk.Label('zn', (15.615,4.15), layer=8, texttype=2))
saradc_cell_invx16_ascap.add(gdstk.Label('zn', (1.215,1.49), layer=8, texttype=2))
saradc_cell_invx16_ascap.add(gdstk.Label('zn', (3.135,1.49), layer=8, texttype=2))
saradc_cell_invx16_ascap.add(gdstk.Label('zn', (5.055,1.49), layer=8, texttype=2))
saradc_cell_invx16_ascap.add(gdstk.Label('zn', (6.975,1.49), layer=8, texttype=2))
saradc_cell_invx16_ascap.add(gdstk.Label('zn', (8.895,1.49), layer=8, texttype=2))
saradc_cell_invx16_ascap.add(gdstk.Label('zn', (10.815,1.49), layer=8, texttype=2))
saradc_cell_invx16_ascap.add(gdstk.Label('zn', (12.735,1.49), layer=8, texttype=2))
saradc_cell_invx16_ascap.add(gdstk.Label('zn', (14.655,1.49), layer=8, texttype=2))
saradc_cell_invx16_ascap.add(gdstk.Label('zn', (15.615,2.82), layer=8, texttype=2))
saradc_cell_invx16_ascap.add(gdstk.Label('i', (0.735,2.15), layer=8, texttype=2))
saradc_cell_invx16_ascap.add(gdstk.Label('vss', (7.99,0), layer=8, texttype=2))
saradc_cell_invx16_ascap.add(gdstk.Label('vdd', (7.99,6.12), layer=8, texttype=2))

lib.write_gds('SARADC_CELL_INVX16_ASCAP.gds')
